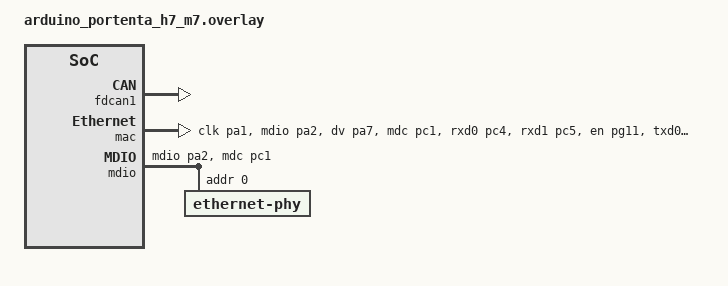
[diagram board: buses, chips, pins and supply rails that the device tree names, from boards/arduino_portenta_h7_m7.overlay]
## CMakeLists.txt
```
# Copyright (c) 2025 Bosch Global Software Technologies Private Limited.
#
# This program and the accompanying materials are made available under the
# terms of the MIT License which is available at
# https://opensource.org/licenses/MIT.
# 
# SPDX-License-Identifier: MIT

cmake_minimum_required(VERSION 3.13.1)

find_package(Zephyr REQUIRED HINTS $ENV{ZEPHYR_BASE})
project(gimbal_can_gateway)

# Add library for CAN
add_library(can STATIC 
    ${CMAKE_CURRENT_SOURCE_DIR}/src/can/can.c
)

# Include paths for the CAN library
target_include_directories(can PUBLIC 
    ${CMAKE_CURRENT_SOURCE_DIR}/src
    ${CMAKE_CURRENT_SOURCE_DIR}/src/can
    ${CMAKE_CURRENT_SOURCE_DIR}/src/udp
)

# Link with Zephyr (if required, depending on Zephyr configuration)
target_link_libraries(can PUBLIC zephyr_interface)

# Add library for UDP
add_library(udp STATIC 
    ${CMAKE_CURRENT_SOURCE_DIR}/src/udp/udp.c
)

# Include paths for the UDP library
target_include_directories(udp PUBLIC 
    ${CMAKE_CURRENT_SOURCE_DIR}/src
    ${CMAKE_CURRENT_SOURCE_DIR}/src/udp  
    ${CMAKE_CURRENT_SOURCE_DIR}/src/can
)

# Link with Zephyr (if required, depending on Zephyr configuration)
target_link_libraries(udp PUBLIC zephyr_interface)

# Create the Zephyr executable
target_sources(app PRIVATE src/main.c)

# Include paths for the executable
target_include_directories(app PRIVATE 
    ${CMAKE_CURRENT_SOURCE_DIR}/src  # Include the directory containing debug.h
    ${CMAKE_CURRENT_SOURCE_DIR}/src/can  # Include the directory containing can.h
    ${CMAKE_CURRENT_SOURCE_DIR}/src/udp  # Include the directory containing udp.h
)

# Link libraries
target_link_libraries(app PRIVATE can udp)
```

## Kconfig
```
# Copyright (c) 2025 Robert Bosch GmbH.
#
# This program and the accompanying materials are made available under the
# terms of the MIT License which is available at
# https://opensource.org/licenses/MIT.
# 
# SPDX-License-Identifier: MIT

# Private config options for IDD-motor CAN/Ethernet Gateway 
mainmenu "IDD-motor CAN/Ethernet Gateway to the vehicle central computer"

menuconfig DEBUG_COREDUMP
	bool "Core Dump"
	depends on ARCH_SUPPORTS_COREDUMP
	help
	  Enable core dump so it can be used for offline debugging.

if DEBUG_COREDUMP

choice DEBUG_COREDUMP_BACKEND
	prompt "Coredump backend"
	default DEBUG_COREDUMP_BACKEND_LOGGING

config DEBUG_COREDUMP_BACKEND_LOGGING
	bool "Use Logging subsystem for coredump"
	select LOG
	help
	  Core dump is done via logging subsystem.

endchoice

endif

source "Kconfig.zephyr"
```

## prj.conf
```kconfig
# Copyright (c) 2025 Bosch Global Software Technologies Private Limited.
#
# This program and the accompanying materials are made available under the
# terms of the MIT License which is available at
# https://opensource.org/licenses/MIT.
# 
# SPDX-License-Identifier: MIT

# CAN configuration
CONFIG_POLL=y
CONFIG_CAN=y
CONFIG_CAN_INIT_PRIORITY=80
CONFIG_CAN_MAX_FILTER=5
CONFIG_CAN_DEFAULT_BITRATE=1000000


# Generic networking options
CONFIG_NETWORKING=y
CONFIG_NET_UDP=y
CONFIG_NET_TCP=n
CONFIG_NET_IPV6=n
CONFIG_NET_IPV4=y
CONFIG_NET_SOCKETS=y
CONFIG_POSIX_API=y
CONFIG_NET_CONNECTION_MANAGER=y


# Kernel options
CONFIG_MAIN_STACK_SIZE=2048
CONFIG_ENTROPY_GENERATOR=y
CONFIG_TEST_RANDOM_GENERATOR=y
CONFIG_INIT_STACKS=y

# Logging
CONFIG_NET_LOG=n
CONFIG_LOG=y
CONFIG_NET_STATISTICS=n
CONFIG_PRINTK=y

# Network buffers
CONFIG_NET_PKT_RX_COUNT=16
CONFIG_NET_PKT_TX_COUNT=16
CONFIG_NET_BUF_RX_COUNT=64
CONFIG_NET_BUF_TX_COUNT=64
CONFIG_NET_CONTEXT_NET_PKT_POOL=y

# IP address options
CONFIG_NET_IF_UNICAST_IPV6_ADDR_COUNT=3
CONFIG_NET_IF_MCAST_IPV6_ADDR_COUNT=4
CONFIG_NET_MAX_CONTEXTS=10

# shell
CONFIG_NET_SHELL=y
CONFIG_SHELL=y
CONFIG_CAN_SHELL=y
CONFIG_DEVICE_SHELL=y


# Network application options and configuration
CONFIG_NET_CONFIG_SETTINGS=y
CONFIG_NET_CONFIG_NEED_IPV4=y
CONFIG_NET_CONFIG_MY_IPV4_ADDR="192.168.88.21"
CONFIG_NET_CONFIG_MY_IPV4_NETMASK="255.255.255.0"
CONFIG_NET_CONFIG_MY_IPV4_GW="192.168.88.1"

# Number of socket descriptors might need adjusting
# if there are more than 1 handlers defined.
CONFIG_ZVFS_OPEN_MAX=12

# How many client can connect to echo-server simultaneously
#CONFIG_NET_SAMPLE_NUM_HANDLERS=1

# CAN statistic
CONFIG_GPIO=y
CONFIG_STATS=y
CONFIG_STATS_NAMES=y
CONFIG_STATS_SHELL=y
CONFIG_CAN_STATS=y


# Thread Analyzer
CONFIG_LOG_BUFFER_SIZE=4096
CONFIG_THREAD_ANALYZER=n
CONFIG_THREAD_ANALYZER_AUTO=y
CONFIG_THREAD_ANALYZER_USE_PRINTK=y
CONFIG_THREAD_ANALYZER_AUTO_INTERVAL=10
```

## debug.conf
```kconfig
# Copyright (c) 2025 Bosch Global Software Technologies Private Limited.
#
# This program and the accompanying materials are made available under the
# terms of the MIT License which is available at
# https://opensource.org/licenses/MIT.
# 
# SPDX-License-Identifier: MIT

# -- disable code optimization so we can debug
CONFIG_DEBUG_OPTIMIZATIONS=y
CONFIG_EXCEPTION_STACK_TRACE=y
CONFIG_DEBUG_INFO=y
CONFIG_ASSERT=y
# -- system debug options
CONFIG_SYS_HEAP_VALIDATE=y
CONFIG_STACK_SENTINEL=y
```

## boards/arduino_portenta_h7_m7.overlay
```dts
/**
 * Copyright (c) 2025 Bosch Global Software Technologies Private Limited.
 *
 * This program and the accompanying materials are made available under the
 * terms of the MIT License which is available at
 * https://opensource.org/licenses/MIT.
 *
 * SPDX-License-Identifier: MIT
 */
 
/{
    chosen{
		zephyr,canbus = &fdcan1;
	};
};
&fdcan1 {
    status = "okay";
};
&mac {
    status = "okay";
    pinctrl-names = "default";
    pinctrl-0 = <&eth_ref_clk_pa1
               &eth_mdio_pa2
               &eth_crs_dv_pa7
               &eth_mdc_pc1
               &eth_rxd0_pc4
               &eth_rxd1_pc5
               &eth_tx_en_pg11
               &eth_txd0_pg13
               &eth_txd1_pg12>;
};
&mdio {
    compatible = "st,stm32-mdio";
    #address-cells = < 0x1 >;
    #size-cells = < 0x0 >;
    status = "okay";
    pinctrl-0 = < &eth_mdio_pa2 &eth_mdc_pc1 >;
    pinctrl-names = "default";
    ethernet-phy@0 {
        compatible = "ethernet-phy";
        reg = < 0x0 >;
        status = "okay";
    };
};
```

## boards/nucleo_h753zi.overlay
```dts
/**
 * Copyright (c) 2025 Bosch Global Software Technologies Private Limited.
 *
 * This program and the accompanying materials are made available under the
 * terms of the MIT License which is available at
 * https://opensource.org/licenses/MIT.
 *
 * SPDX-License-Identifier: MIT
 */
 
/{
can1 {
	status = "okay";
};
};
```

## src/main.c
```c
/**
 * Copyright (c) 2025 Bosch Global Software Technologies Private Limited. 
 *
 * This program and the accompanying materials are made available under the
 * terms of the MIT License which is available at
 * https://opensource.org/licenses/MIT.
 *
 * SPDX-License-Identifier: MIT
 */

#include "can.h"
#include "debug.h"


int main(void)
{
	
	k_sleep(K_MSEC(5000));

	if (can_Init() != 0) 
	{
		DEBUG_ERROR("Failed to initialize CAN driver");
		return -1;
	}
	else 
	{
		DEBUG_ERROR("CAN initialized");
	}

	can_Start();
	DEBUG_ERROR("CAN started");
	k_sleep(K_MSEC(5000));
	if (IS_ENABLED(CONFIG_NET_UDP)) {
		start_udp();
		DEBUG_ERROR("UDP started");
	}
	DEBUG_ERROR("Zone gateway started!");
	while (1) 
	{
		k_sleep(K_MSEC(10000));
	}

}
```

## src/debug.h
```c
/**
 * Copyright (c) 2025 Bosch Global Software Technologies Private Limited. 
 *
 * This program and the accompanying materials are made available under the
 * terms of the MIT License which is available at
 * https://opensource.org/licenses/MIT.
 *
 * SPDX-License-Identifier: MIT
 */

#ifndef DEBUG_CFG_H
#define DEBUG_CFG_H

// Define für Debug-Level
#define DEBUG_LEVEL_INFO 3
#define DEBUG_LEVEL_WARN 2
#define DEBUG_LEVEL_ERR  1
#define DEBUG_LEVEL_NONE 0 // Neues Level, das alle Debug-Nachrichten deaktiviert

// Standard Debug-Level festlegen (INFO)
#ifndef DEBUG_LEVEL
#define DEBUG_LEVEL DEBUG_LEVEL_ERR
#endif


#if (DEBUG_LEVEL > DEBUG_LEVEL_INFO) || (DEBUG_LEVEL < DEBUG_LEVEL_NONE)
#error "Invalid DEBUG_LEVEL defined!"
#elif (DEBUG_LEVEL != DEBUG_LEVEL_NONE)
#include <stdio.h>
#endif


// Übergeordnete Bedingung, um Debug-Nachrichten vollständig zu deaktivieren
#if (DEBUG_LEVEL == DEBUG_LEVEL_NONE)

    // Macros für deaktivierte Debug-Nachrichten
    #define DEBUG_INFO(fmt, ...) ((void)0)
    #define DEBUG_WARNING(fmt, ...) ((void)0)
    #define DEBUG_ERROR(fmt, ...) ((void)0)
    #define DEBUG_INFO_CONDITIONAL(fmt, ...) ((void)0)
    #define DEBUG_WARNING_CONDITIONAL(fmt, ...) ((void)0)
    #define DEBUG_ERROR_CONDITIONAL(fmt, ...) ((void)0)

#else

    // Macros für Debug-Nachrichten auf verschiedenen Leveln
    #define DEBUG_INFO(fmt, ...) \
        do { \
            if (DEBUG_LEVEL >= DEBUG_LEVEL_INFO) { \
                fprintf(stderr, "[INFO] " fmt "\n", ##__VA_ARGS__); \
            } \
        } while (0)

    #define DEBUG_WARNING(fmt, ...) \
        do { \
            if (DEBUG_LEVEL >= DEBUG_LEVEL_WARN) { \
                fprintf(stderr, "[WARN] " fmt "\n", ##__VA_ARGS__); \
            } \
        } while (0)

    #define DEBUG_ERROR(fmt, ...) \
        do { \
            if (DEBUG_LEVEL >= DEBUG_LEVEL_ERR) { \
                fprintf(stderr, "[ERR] " fmt "\n", ##__VA_ARGS__); \
            } \
        } while (0)

    
    #define DEBUG_INFO_CONDITIONAL(condition, message, ...) \
        do { \
            if ((condition)) { \
                DEBUG_INFO(message, ##__VA_ARGS__); \
            } \
        } while (0)
    
    #define DEBUG_WARNING_CONDITIONAL(condition, message, ...) \
        do { \
            if ((condition)) { \
                DEBUG_WARNING(message, ##__VA_ARGS__); \
            } \
        } while (0)

    #define DEBUG_ERROR_CONDITIONAL(condition, message, ...) \
        do { \
            if ((condition)) { \
                DEBUG_ERROR(message, ##__VA_ARGS__); \
            } \
        } while (0)

#endif

#endif // DEBUG_CFG_H
```
